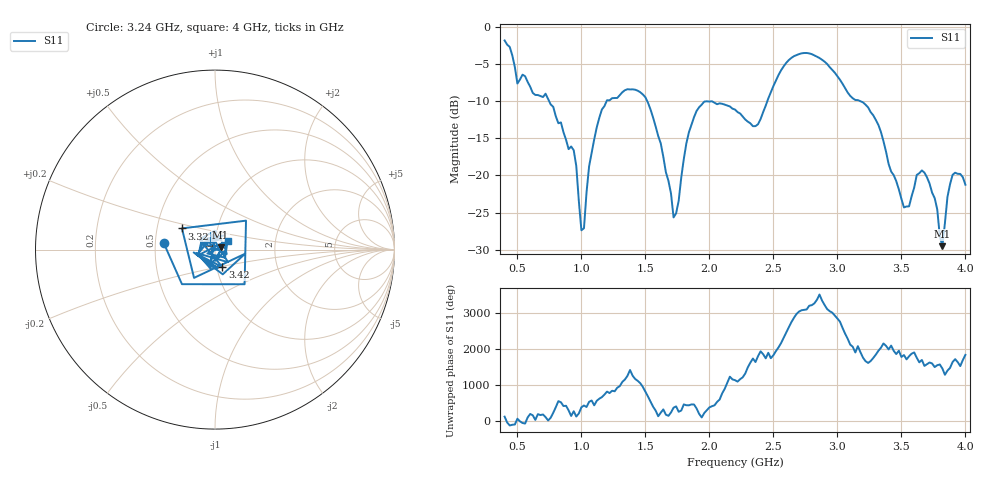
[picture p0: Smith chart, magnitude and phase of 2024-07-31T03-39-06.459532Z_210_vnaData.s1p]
!Created with skrf (http://scikit-rf.org).
# Hz S RI R 50.0
!freq ReS11 ImS11
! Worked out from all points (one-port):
!   181 points, 400 MHz to 4 GHz, reference 50 ohm
!   lowest |S11| = -29.5 dB at 3.82 GHz (marker M1), VSWR 1.07, Z = 53.2 + j1.25 ohm
!   |S11| at or under -10 dB: 747.5 MHz to 1.197 GHz (449.8 MHz wide, 46.3 % of centre); 1.514 GHz to 2.453 GHz (938.7 MHz wide, 47.3 % of centre); 3.176 GHz to end of sweep
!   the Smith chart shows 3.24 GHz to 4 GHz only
!   S11 on the Smith chart (normalised r, x): 3.24 GHz: 0.56, +0.04; 3.32 GHz: 0.67, +0.17; 3.42 GHz: 1.06, -0.21; 4 GHz: 1.15, +0.12
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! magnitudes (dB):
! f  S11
! 400 MHz  -1.9
! 500 MHz  -7.7
! 720 MHz  -9.0
! 860 MHz  -14.2
! 940 MHz  -16.6
! 1 GHz  -27.4
! 1.14 GHz  -12.2
! 1.3 GHz  -9.2
! 1.5 GHz  -9.5
! 1.62 GHz  -15.7
! 1.72 GHz  -25.6
! 1.76 GHz  -23.4
! 1.82 GHz  -15.7
! 1.9 GHz  -11.3
! 2.2 GHz  -11.1
! 2.38 GHz  -13.1
! 2.66 GHz  -4.0
! 2.88 GHz  -4.4
! 3.1 GHz  -9.3
! 3.24 GHz  -10.9
! 3.32 GHz  -13.2
! 3.42 GHz  -19.5
! 3.56 GHz  -24.1
! 3.68 GHz  -19.6
! 3.76 GHz  -23.0
! 3.82 GHz  -29.5
! 3.9 GHz  -19.9
! 4 GHz  -21.2
